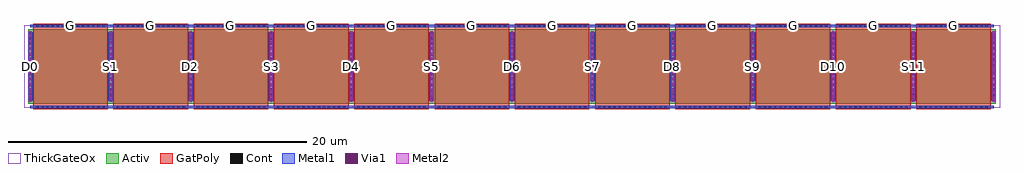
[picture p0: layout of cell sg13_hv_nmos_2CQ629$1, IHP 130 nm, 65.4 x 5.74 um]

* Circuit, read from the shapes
.subckt sg13_hv_nmos_2CQ629$1 D0 D10 D2 D4 D6 D8 G S1 S11 S3 S5 S7 S9
XM1 S1 G D0 VSUBS sg13_hv_nmos w=5u l=5u
XM2 D2 G S1 VSUBS sg13_hv_nmos w=5u l=5u
XM3 S3 G D2 VSUBS sg13_hv_nmos w=5u l=5u
XM4 D4 G S3 VSUBS sg13_hv_nmos w=5u l=5u
XM5 S5 G D4 VSUBS sg13_hv_nmos w=5u l=5u
XM6 D6 G S5 VSUBS sg13_hv_nmos w=5u l=5u
XM7 S7 G D6 VSUBS sg13_hv_nmos w=5u l=5u
XM8 D8 G S7 VSUBS sg13_hv_nmos w=5u l=5u
XM9 S9 G D8 VSUBS sg13_hv_nmos w=5u l=5u
XM10 D10 G S9 VSUBS sg13_hv_nmos w=5u l=5u
XM11 S11 G D10 VSUBS sg13_hv_nmos w=5u l=5u
XM12 n1 G S11 VSUBS sg13_hv_nmos w=5u l=5u
.ends

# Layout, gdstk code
import gdstk
lib = gdstk.Library(unit=1e-6, precision=1e-09)
def R(c, l, rs):  # rectangles x0, y0, x1, y1
    for r in rs: c.add(gdstk.rectangle(r[:2], r[2:], *l))
def A(c, l, x, y, w, h, nx, ny, dx, dy):  # array of equal rectangles
    R(c, l, [(x+i*dx, y+j*dy, x+i*dx+w, y+j*dy+h) for i in range(nx) for j in range(ny)])
Activ = (1, 0)
GatPoly = (5, 0)
Cont = (6, 0)
Metal1 = (8, 0)
Metal2 = (10, 0)
Via1 = (19, 0)
ThickGateOx = (44, 0)

sg13_hv_nmos_2cq629_1 = lib.new_cell('sg13_hv_nmos_2CQ629$1')
R(sg13_hv_nmos_2cq629_1, Activ, [(-32.43,-2.5,32.43,2.5)])
A(sg13_hv_nmos_2cq629_1, GatPoly, -32.09, -2.87, 5, 5.74, 12, 1, 5.38, 0)
A(sg13_hv_nmos_2cq629_1, Cont, -31.88, -2.8, 0.16, 0.16, 14, 2, 0.34, 5.44)
A(sg13_hv_nmos_2cq629_1, Cont, -26.5, -2.8, 0.16, 0.16, 14, 2, 0.34, 5.44)
A(sg13_hv_nmos_2cq629_1, Cont, -21.12, -2.8, 0.16, 0.16, 14, 2, 0.34, 5.44)
A(sg13_hv_nmos_2cq629_1, Cont, -15.74, -2.8, 0.16, 0.16, 14, 2, 0.34, 5.44)
A(sg13_hv_nmos_2cq629_1, Cont, -10.36, -2.8, 0.16, 0.16, 14, 2, 0.34, 5.44)
A(sg13_hv_nmos_2cq629_1, Cont, -4.98, -2.8, 0.16, 0.16, 14, 2, 0.34, 5.44)
A(sg13_hv_nmos_2cq629_1, Cont, 0.4, -2.8, 0.16, 0.16, 14, 2, 0.34, 5.44)
A(sg13_hv_nmos_2cq629_1, Cont, 5.78, -2.8, 0.16, 0.16, 14, 2, 0.34, 5.44)
A(sg13_hv_nmos_2cq629_1, Cont, 11.16, -2.8, 0.16, 0.16, 14, 2, 0.34, 5.44)
A(sg13_hv_nmos_2cq629_1, Cont, 16.54, -2.8, 0.16, 0.16, 14, 2, 0.34, 5.44)
A(sg13_hv_nmos_2cq629_1, Cont, 21.92, -2.8, 0.16, 0.16, 14, 2, 0.34, 5.44)
A(sg13_hv_nmos_2cq629_1, Cont, 27.3, -2.8, 0.16, 0.16, 14, 2, 0.34, 5.44)
A(sg13_hv_nmos_2cq629_1, Cont, -32.36, -2.29, 0.16, 0.16, 13, 14, 5.38, 0.34)
A(sg13_hv_nmos_2cq629_1, Metal1, -32.43, -2.31, 0.3, 4.62, 13, 1, 5.38, 0)
R(sg13_hv_nmos_2cq629_1, Metal1, [(-32.28,-2.8,32.28,-2.64), (-32.28,2.64,32.28,2.8)])
A(sg13_hv_nmos_2cq629_1, Metal2, -32.38, -2.35, 0.2, 4.7, 13, 1, 5.38, 0)
A(sg13_hv_nmos_2cq629_1, Via1, -32.375, -2.145, 0.19, 0.19, 13, 11, 5.38, 0.41)
R(sg13_hv_nmos_2cq629_1, ThickGateOx, [(-32.7,-2.77,32.7,2.77)])
sg13_hv_nmos_2cq629_1.add(gdstk.Label('D0', (-32.28,0), layer=8, texttype=25))
sg13_hv_nmos_2cq629_1.add(gdstk.Label('G', (29.59,2.72), layer=8, texttype=25))
sg13_hv_nmos_2cq629_1.add(gdstk.Label('G', (24.21,2.72), layer=8, texttype=25))
sg13_hv_nmos_2cq629_1.add(gdstk.Label('G', (18.83,2.72), layer=8, texttype=25))
sg13_hv_nmos_2cq629_1.add(gdstk.Label('G', (13.45,2.72), layer=8, texttype=25))
sg13_hv_nmos_2cq629_1.add(gdstk.Label('G', (8.07,2.72), layer=8, texttype=25))
sg13_hv_nmos_2cq629_1.add(gdstk.Label('G', (2.69,2.72), layer=8, texttype=25))
sg13_hv_nmos_2cq629_1.add(gdstk.Label('G', (-2.69,2.72), layer=8, texttype=25))
sg13_hv_nmos_2cq629_1.add(gdstk.Label('G', (-8.07,2.72), layer=8, texttype=25))
sg13_hv_nmos_2cq629_1.add(gdstk.Label('G', (-13.45,2.72), layer=8, texttype=25))
sg13_hv_nmos_2cq629_1.add(gdstk.Label('G', (-18.83,2.72), layer=8, texttype=25))
sg13_hv_nmos_2cq629_1.add(gdstk.Label('G', (-24.21,2.72), layer=8, texttype=25))
sg13_hv_nmos_2cq629_1.add(gdstk.Label('G', (-29.59,2.72), layer=8, texttype=25))
sg13_hv_nmos_2cq629_1.add(gdstk.Label('S1', (-26.9,0), layer=8, texttype=25))
sg13_hv_nmos_2cq629_1.add(gdstk.Label('D2', (-21.52,0), layer=8, texttype=25))
sg13_hv_nmos_2cq629_1.add(gdstk.Label('S3', (-16.14,0), layer=8, texttype=25))
sg13_hv_nmos_2cq629_1.add(gdstk.Label('D4', (-10.76,0), layer=8, texttype=25))
sg13_hv_nmos_2cq629_1.add(gdstk.Label('S5', (-5.38,0), layer=8, texttype=25))
sg13_hv_nmos_2cq629_1.add(gdstk.Label('D6', (0,0), layer=8, texttype=25))
sg13_hv_nmos_2cq629_1.add(gdstk.Label('S7', (5.38,0), layer=8, texttype=25))
sg13_hv_nmos_2cq629_1.add(gdstk.Label('D8', (10.76,0), layer=8, texttype=25))
sg13_hv_nmos_2cq629_1.add(gdstk.Label('S9', (16.14,0), layer=8, texttype=25))
sg13_hv_nmos_2cq629_1.add(gdstk.Label('D10', (21.52,0), layer=8, texttype=25))
sg13_hv_nmos_2cq629_1.add(gdstk.Label('S11', (26.9,0), layer=8, texttype=25))

lib.write_gds('sg13_hv_nmos_2CQ629_1.gds')
